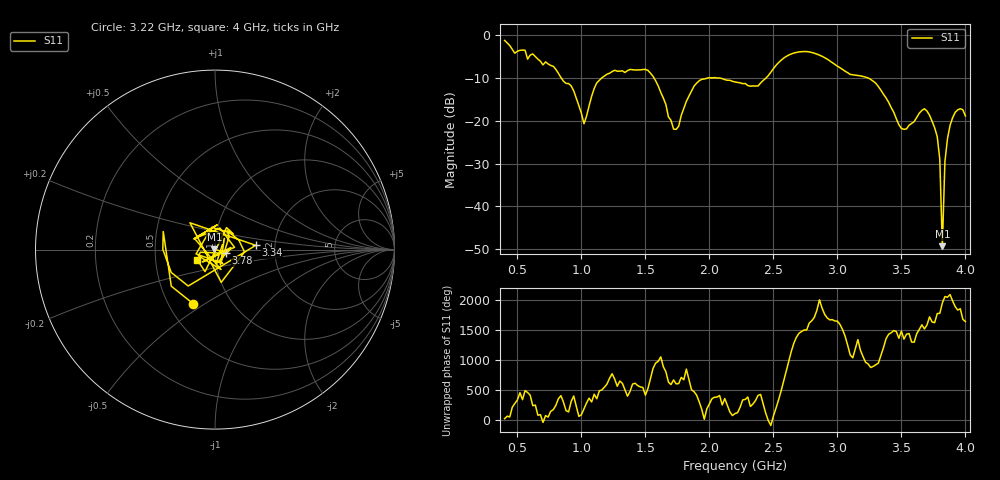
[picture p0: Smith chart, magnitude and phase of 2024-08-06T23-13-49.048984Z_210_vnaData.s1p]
!Created with skrf (http://scikit-rf.org).
# Hz S RI R 50.0
!freq ReS11 ImS11
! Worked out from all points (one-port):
!   181 points, 400 MHz to 4 GHz, reference 50 ohm
!   lowest |S11| = -49.3 dB at 3.82 GHz (marker M1), VSWR 1.01, Z = 49.7 + j0.132 ohm
!   |S11| at or under -10 dB: 1.568 GHz to 1.985 GHz (417.2 MHz wide, 23.5 % of centre); 2.083 GHz to 2.441 GHz (358.2 MHz wide, 15.8 % of centre); 3.242 GHz to end of sweep (the widest 3 of 4)
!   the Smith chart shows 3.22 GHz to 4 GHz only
!   S11 on the Smith chart (normalised r, x): 3.22 GHz: 0.66, -0.45; 3.34 GHz: 1.59, +0.08; 3.78 GHz: 1.13, -0.05; 4 GHz: 0.81, -0.09
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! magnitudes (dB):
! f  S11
! 400 MHz  -1.2
! 780 MHz  -7.2
! 860 MHz  -10.7
! 940 MHz  -13.0
! 1.02 GHz  -20.7
! 1.12 GHz  -11.1
! 1.3 GHz  -8.4
! 1.52 GHz  -8.2
! 1.6 GHz  -11.8
! 1.72 GHz  -21.9
! 1.76 GHz  -21.3
! 1.92 GHz  -10.6
! 2.2 GHz  -10.9
! 2.38 GHz  -11.8
! 2.66 GHz  -4.1
! 3.1 GHz  -9.1
! 3.22 GHz  -9.8
! 3.34 GHz  -12.8
! 3.5 GHz  -21.8
! 3.56 GHz  -21.0
! 3.68 GHz  -17.2
! 3.78 GHz  -23.7
! 3.8 GHz  -29.0
! 3.82 GHz  -49.3
! 3.84 GHz  -29.5
! 3.86 GHz  -24.2
! 3.92 GHz  -18.0
! 4 GHz  -18.9
